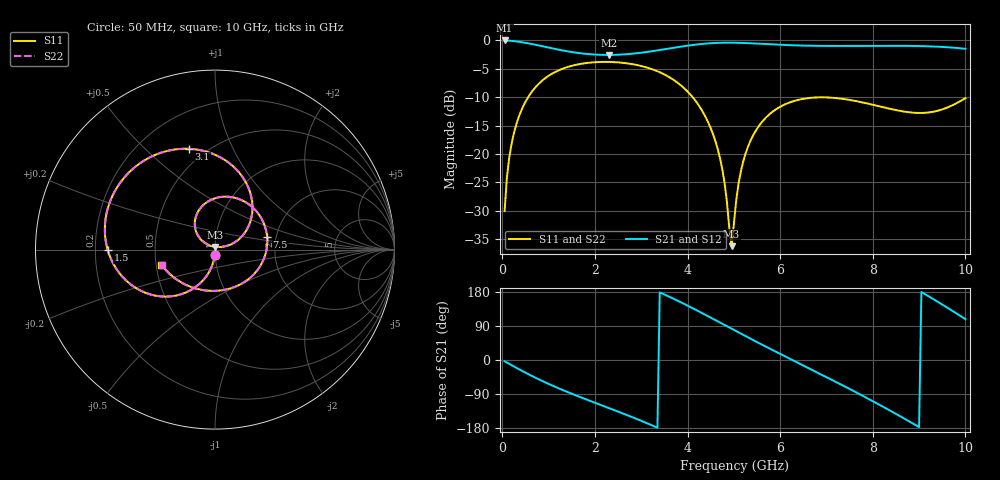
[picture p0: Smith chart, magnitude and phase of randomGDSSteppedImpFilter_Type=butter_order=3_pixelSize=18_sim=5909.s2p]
! freq	dB(S11)	phase(S11)	dB(S12)	phase(S12)
!  dB(S21)	phase(S21)	dB(S22)	phase(S22)
!S-par simulation data
#  GHz  S  DB  R 50
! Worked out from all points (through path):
!   200 points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, 50 MHz to 10 GHz, reference 50 ohm
!   highest |S21| = -0.01 dB at 50 MHz (marker M1); lowest = -2.6 dB at 2.3 GHz (marker M2)
!   group delay of S21, straight-line fit = 167 ps
!   lowest |S11| = -36.3 dB at 4.95 GHz (marker M3), VSWR 1.03, Z = 50.1 + j1.54 ohm
!   |S11| at or under -10 dB: start of sweep to 559.3 MHz; 4.109 GHz to end of sweep
!   |S22| runs from -35.5 to -3.8 dB; largest |S21 - S12| = 0
!   S11 on the Smith chart (normalised r, x): 50 MHz: 0.99, -0.06; 1.5 GHz: 0.25, -0.00; 3.1 GHz: 0.41, +0.69; 7.5 GHz: 1.79, +0.29; 10 GHz: 0.53, -0.10
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0.05  -30.07 -93.3  -0.01 -3.5  -0.01 -3.5  -30.07 -93.3
0.2  -18.24 -104.0  -0.09 -13.7  -0.09 -13.7  -18.24 -104.0
0.45  -11.64 -120.8  -0.35 -30.2  -0.35 -30.2  -11.64 -120.8
0.95  -6.52 -150.9  -1.18 -60.4  -1.18 -60.4  -6.52 -150.9
1.5  -4.48 -179.6  -2.05 -89.1  -2.05 -89.1  -4.48 -179.6
1.75  -4.06 168.4  -2.33 -101.2  -2.33 -101.2  -4.06 168.4
2.3  -3.79 142.8  -2.56 -126.8  -2.56 -126.8  -3.79 142.9
3.1  -4.73 104.5  -2.06 -165.6  -2.06 -165.6  -4.73 104.5
3.4  -5.61 88.8  -1.70 178.5  -1.70 178.5  -5.61 88.9
3.95  -8.61 57.9  -0.98 146.6  -0.98 146.6  -8.60 58.1
4.5  -15.46 26.3  -0.50 111.8  -0.50 111.8  -15.45 26.7
4.75  -22.68 17.0  -0.42 95.4  -0.42 95.4  -22.65 18.0
4.95  -36.26 86.2  -0.41 82.4  -0.41 82.4  -35.51 85.9
5.05  -28.26 142.5  -0.42 75.9  -0.42 75.9  -28.14 140.6
5.25  -20.02 144.2  -0.47 63.0  -0.47 63.0  -20.00 143.4
5.55  -14.97 129.3  -0.58 44.0  -0.58 44.0  -14.97 128.9
6.1  -11.29 97.5  -0.81 10.0  -0.81 10.0  -11.28 97.3
6.7  -10.09 62.1  -0.95 -26.6  -0.95 -26.6  -10.09 62.0
7.5  -10.49 14.1  -0.97 -76.4  -0.97 -76.4  -10.49 14.0
8.35  -12.02 -39.1  -0.94 -132.0  -0.94 -132.0  -12.01 -38.9
9.15  -12.75 -94.6  -1.03 172.1  -1.03 172.1  -12.74 -94.0
10  -10.18 -164.3  -1.49 107.8  -1.49 107.8  -10.18 -163.7
